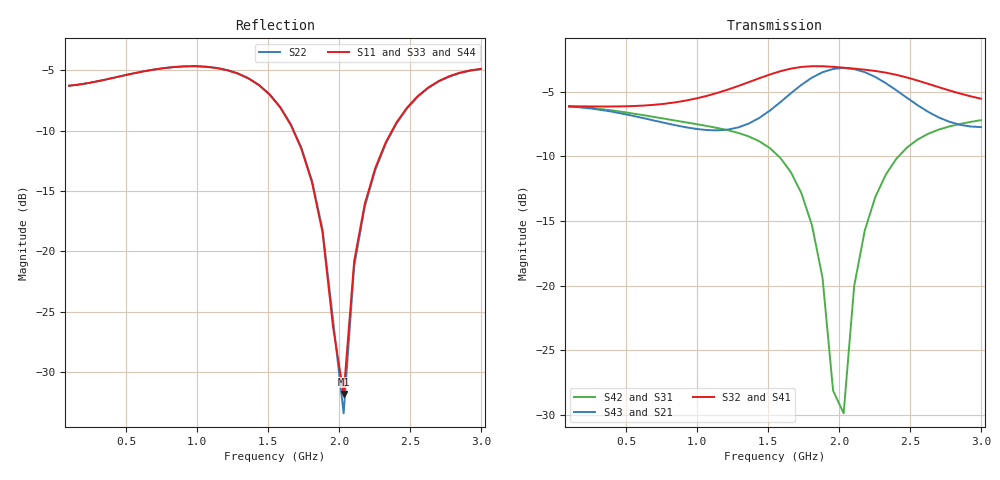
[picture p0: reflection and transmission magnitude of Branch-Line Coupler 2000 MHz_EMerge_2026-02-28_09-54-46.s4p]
! Generated by EMerge - 4-port S-parameters
! File generated: 2026-02-28 09:54
! --- Branch-Line Coupler 2000 MHz ---
! Substrate: RO4003C
! h = 0.508 mm
! W50 = 1.1 mm, W35 = 1.85 mm
! L35 = 22.2 mm, L50 = 22.2 mm
! L_feed = 5 mm
! Run time = 1.62 min
# GHZ S RI R 50
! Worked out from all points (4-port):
!   40 points, 100 MHz to 3 GHz, reference 50 ohm
!   strongest paths, dB at 100 MHz, 843.6 MHz, 1.587 GHz, 2.331 GHz, 3 GHz:
!     S32: -6.1, -5.8, -3.4, -3.5, -5.5
!     S41: -6.1, -5.8, -3.4, -3.5, -5.5
!     S43: -6.2, -7.6, -5.8, -4.3, -7.7
!     S21: -6.2, -7.6, -5.8, -4.3, -7.8
!     S42: -6.1, -7.2, -10.1, -11.4, -7.2
!     S31: -6.1, -7.2, -10.1, -11.5, -7.2
!   lowest |S11| = -31.8 dB at 2.033 GHz (marker M1), VSWR 1.05, Z = 48.8 - j2.26 ohm
!   |S11| at or under -10 dB: 1.679 GHz to 2.374 GHz (694.8 MHz wide, 34.3 % of centre)
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0.1  -0.4857 0.0153  0.4877 -0.0681  0.4868 -0.0766  0.4857 -0.0892
     0.4877 -0.0681  -0.4857 0.0153  0.4857 -0.0892  0.4868 -0.0766
     0.4868 -0.0766  0.4857 -0.0892  -0.4858 0.0154  0.4877 -0.0681
     0.4857 -0.0892  0.4868 -0.0766  0.4877 -0.0681  -0.4857 0.0153
0.9179487  -0.472 0.3447  0.1872 -0.3654  0.0833 -0.4206  -0.021 -0.5187
           0.1872 -0.3654  -0.4724 0.3449  -0.0211 -0.5185  0.0836 -0.4201
           0.0833 -0.4206  -0.0211 -0.5185  -0.4719 0.3458  0.187 -0.3649
           -0.021 -0.5187  0.0836 -0.4201  0.187 -0.3649  -0.4723 0.3456
1.512821  -0.0163 0.4455  0.0396 -0.4736  -0.2593 -0.2229  -0.6067 -0.2479
          0.0396 -0.4736  -0.0177 0.4472  -0.6062 -0.2478  -0.2574 -0.2229
          -0.2592 -0.2229  -0.6062 -0.2478  -0.0156 0.4469  0.0409 -0.4729
          -0.6067 -0.2479  -0.2574 -0.2229  0.0409 -0.4729  -0.0165 0.4471
1.810256  0.1088 0.1599  -0.2234 -0.5969  -0.1726 0.013  -0.6695 0.2242
          -0.2234 -0.5969  0.1087 0.1638  -0.6694 0.2235  -0.1709 0.0112
          -0.1726 0.013  -0.6694 0.2234  0.1094 0.1615  -0.2217 -0.5975
          -0.6695 0.2242  -0.1709 0.0112  -0.2217 -0.5975  0.1086 0.1622
2.033333  -0.0111 -0.0231  -0.5223 -0.4581  0.0166 -0.0246  -0.4594 0.5229
          -0.5223 -0.4581  -0.00885 -0.0194  -0.4601 0.5224  0.0171 -0.0271
          0.0166 -0.0246  -0.4601 0.5224  -0.0104 -0.0211  -0.5209 -0.4597
          -0.4594 0.5229  0.0171 -0.0271  -0.5209 -0.4597  -0.011 -0.0198
2.25641  -0.2087 -0.0747  -0.6229 -0.1507  0.0233 -0.2166  -0.1427 0.6604
         -0.6229 -0.1507  -0.2053 -0.0727  -0.1434 0.6609  0.0225 -0.219
         0.0233 -0.2166  -0.1434 0.6609  -0.2075 -0.0721  -0.6224 -0.1529
         -0.1427 0.6604  0.0225 -0.219  -0.6225 -0.1529  -0.2075 -0.0705
3  -0.3763 0.4291  -0.3454 0.2177  -0.4317 -0.0482  0.51 0.1368
   -0.3454 0.2177  -0.3739 0.429  0.5105 0.1365  -0.4336 -0.048
   -0.4317 -0.0482  0.5105 0.1365  -0.3726 0.4303  -0.3474 0.2179
   0.51 0.1368  -0.4336 -0.0481  -0.3474 0.2179  -0.3713 0.4301
